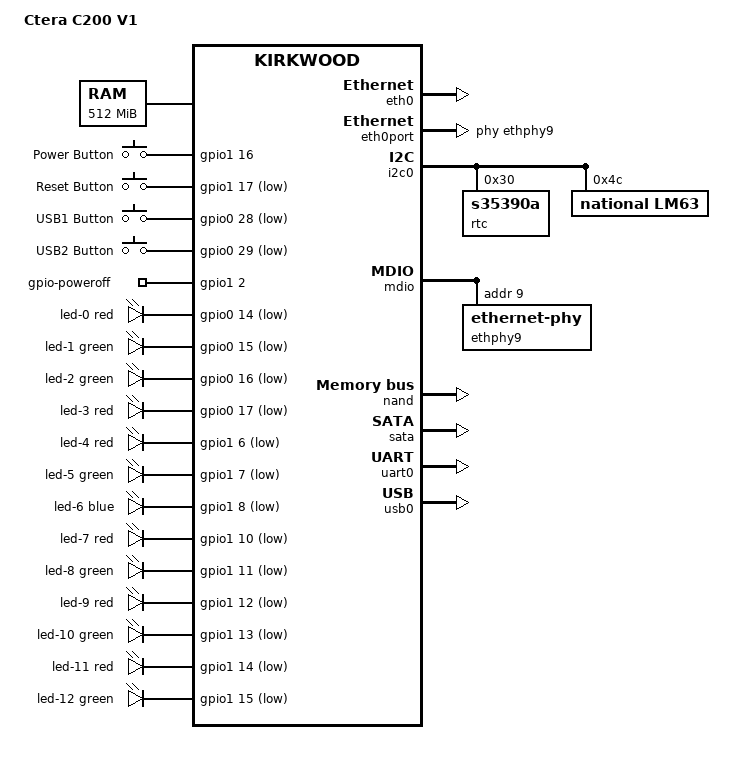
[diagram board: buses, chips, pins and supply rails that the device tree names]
// SPDX-License-Identifier: GPL-2.0-or-later
/*
 * Ctera C200 V1 Board Description
 * Copyright 2021-2022 Pawel Dembicki <paweldembicki@gmail.com>
 */

/dts-v1/;

#include "kirkwood.dtsi"
#include "kirkwood-6281.dtsi"
#include <dt-bindings/leds/common.h>

/ {
	model = "Ctera C200 V1";
	compatible = "ctera,c200-v1", "marvell,kirkwood-88f6281", "marvell,kirkwood";

	chosen {
		bootargs = "console=ttyS0,115200";
		stdout-path = &uart0;
	};

	memory@0 {
		device_type = "memory";
		reg = <0x00000000 0x20000000>;
	};

	keys {
		compatible = "gpio-keys";
		pinctrl-0 = <&pmx_buttons>;
		pinctrl-names = "default";

		power {
			label = "Power Button";
			linux,code = <KEY_POWER>;
			gpios = <&gpio1 16 GPIO_ACTIVE_HIGH>;
		};

		reset {
			label = "Reset Button";
			linux,code = <KEY_RESTART>;
			gpios = <&gpio1 17 GPIO_ACTIVE_LOW>;
		};

		usb1 {
			label = "USB1 Button";
			linux,code = <BTN_0>;
			gpios = <&gpio0 28 GPIO_ACTIVE_LOW>;
		};

		usb2 {
			label = "USB2 Button";
			linux,code = <BTN_1>;
			gpios = <&gpio0 29 GPIO_ACTIVE_LOW>;
		};
	};

	gpio-poweroff {
		compatible = "gpio-poweroff";
		pinctrl-0 = <&pmx_poweroff>;
		pinctrl-names = "default";
		gpios = <&gpio1 2 GPIO_ACTIVE_HIGH>;
	};

	leds {
		compatible = "gpio-leds";
		pinctrl-0 = <&pmx_leds>;
		pinctrl-names = "default";

		led-0 {
			function = LED_FUNCTION_DISK;
			function-enumerator = <2>;
			color = <LED_COLOR_ID_RED>;
			gpios = <&gpio0 14 GPIO_ACTIVE_LOW>;
		};

		led-1 {
			function = LED_FUNCTION_DISK;
			function-enumerator = <1>;
			color = <LED_COLOR_ID_GREEN>;
			gpios = <&gpio0 15 GPIO_ACTIVE_LOW>;
		};

		led-2 {
			function = LED_FUNCTION_DISK;
			function-enumerator = <2>;
			color = <LED_COLOR_ID_GREEN>;
			gpios = <&gpio0 16 GPIO_ACTIVE_LOW>;
		};

		led-3 {
			function = LED_FUNCTION_DISK;
			function-enumerator = <1>;
			color = <LED_COLOR_ID_RED>;
			gpios = <&gpio0 17 GPIO_ACTIVE_LOW>;
		};

		led-4 {
			function = LED_FUNCTION_STATUS;
			color = <LED_COLOR_ID_RED>;
			gpios = <&gpio1 6 GPIO_ACTIVE_LOW>;
		};

		led-5 {
			function = LED_FUNCTION_STATUS;
			color = <LED_COLOR_ID_GREEN>;
			gpios = <&gpio1 7 GPIO_ACTIVE_LOW>;
		};

		led-6 {
			function = LED_FUNCTION_INDICATOR;
			color = <LED_COLOR_ID_BLUE>;
			gpios = <&gpio1 8 GPIO_ACTIVE_LOW>;
		};

		led-7 {
			function = LED_FUNCTION_DISK_ERR;
			color = <LED_COLOR_ID_RED>;
			gpios = <&gpio1 10 GPIO_ACTIVE_LOW>;
		};

		led-8 {
			function = LED_FUNCTION_DISK_ERR;
			color = <LED_COLOR_ID_GREEN>;
			gpios = <&gpio1 11 GPIO_ACTIVE_LOW>;
		};

		led-9 {
			function = LED_FUNCTION_USB;
			function-enumerator = <1>;
			color = <LED_COLOR_ID_RED>;
			gpios = <&gpio1 12 GPIO_ACTIVE_LOW>;
		};

		led-10 {
			function = LED_FUNCTION_USB;
			function-enumerator = <1>;
			color = <LED_COLOR_ID_GREEN>;
			gpios = <&gpio1 13 GPIO_ACTIVE_LOW>;
			linux,default-trigger = "usbport";
			trigger-sources = <&hub_port2>;
		};

		led-11 {
			function = LED_FUNCTION_USB;
			function-enumerator = <2>;
			color = <LED_COLOR_ID_RED>;
			gpios = <&gpio1 14 GPIO_ACTIVE_LOW>;
		};

		led-12 {
			function = LED_FUNCTION_USB;
			function-enumerator = <2>;
			color = <LED_COLOR_ID_GREEN>;
			gpios = <&gpio1 15 GPIO_ACTIVE_LOW>;
			linux,default-trigger = "usbport";
			trigger-sources = <&hub_port1>;
		};
	};
};

&eth0 {
	status = "okay";
};

&eth0port {
	phy-handle = <&ethphy9>;
};

&i2c0 {
	status = "okay";

	rtc@30 {
		compatible = "s35390a";
		reg = <0x30>;
	};

	lm63@4c {
		compatible = "national,lm63";
		reg = <0x4c>;
	};
};

&mdio {
	status = "okay";

	ethphy9: ethernet-phy@9 {
		reg = <9>;
	};
};

&nand {
	status = "okay";
	chip-delay = <40>;

	partition@0 {
		label = "uboot";
		reg = <0x0000000 0x200000>;
	};

	partition@200000 {
		label = "certificate";
		reg = <0x0200000 0x100000>;
	};

	partition@300000 {
		label = "preset_cfg";
		reg = <0x0300000 0x100000>;
	};

	partition@400000 {
		label = "dev_params";
		reg = <0x0400000 0x100000>;
	};

	partition@500000 {
		label = "active_bank";
		reg = <0x0500000 0x0100000>;
	};

	partition@600000 {
		label = "magic";
		reg = <0x0600000 0x0100000>;
	};

	partition@700000 {
		label = "bank1";
		reg = <0x0700000 0x2800000>;
	};

	partition@2f00000 {
		label = "bank2";
		reg = <0x2f00000 0x2800000>;
	};

	/* 0x5700000-0x5a00000 undefined in vendor firmware */

	partition@5a00000 {
		label = "reserved";
		reg = <0x5a00000 0x2000000>;
	};

	partition@7a00000 {
		label = "rootfs";
		reg = <0x7a00000 0x8600000>;
	};
};

&pinctrl {
	/* Buzzer gpios are connected to two pins of buzzer.
	 * This buzzer require a modulated signal from gpio.
	 * Leave it as is due lack of proper driver.
	 */
	pmx_buzzer: pmx-buzzer {
		marvell,pins = "mpp12", "mpp13";
		marvell,function = "gpio";
	};

	pmx_leds: pmx-leds {
		marvell,pins = "mpp14", "mpp15", "mpp16", "mpp17", "mpp38",
			       "mpp39", "mpp40", "mpp42", "mpp43", "mpp44",
			       "mpp45", "mpp46", "mpp47";
		marvell,function = "gpio";
	};

	pmx_buttons: pmx-buttons {
		marvell,pins = "mpp28", "mpp29", "mpp48", "mpp49";
		marvell,function = "gpio";
	};

	pmx_poweroff: pmx-poweroff {
		marvell,pins = "mpp34";
		marvell,function = "gpio";
	};
};

&rtc {
	status = "disabled";
};

&sata {
	status = "okay";
	nr-ports = <2>;
};

&uart0 {
	status = "okay";
};

&usb0 {
	#address-cells = <1>;
	#size-cells = <0>;
	status = "okay";

	port@1 {
		#address-cells = <1>;
		#size-cells = <0>;
		reg = <1>;
		#trigger-source-cells = <0>;

		hub_port1: port@1 {
			reg = <1>;
			#trigger-source-cells = <0>;
		};

		hub_port2: port@2 {
			reg = <2>;
			#trigger-source-cells = <0>;
		};
	};
};
